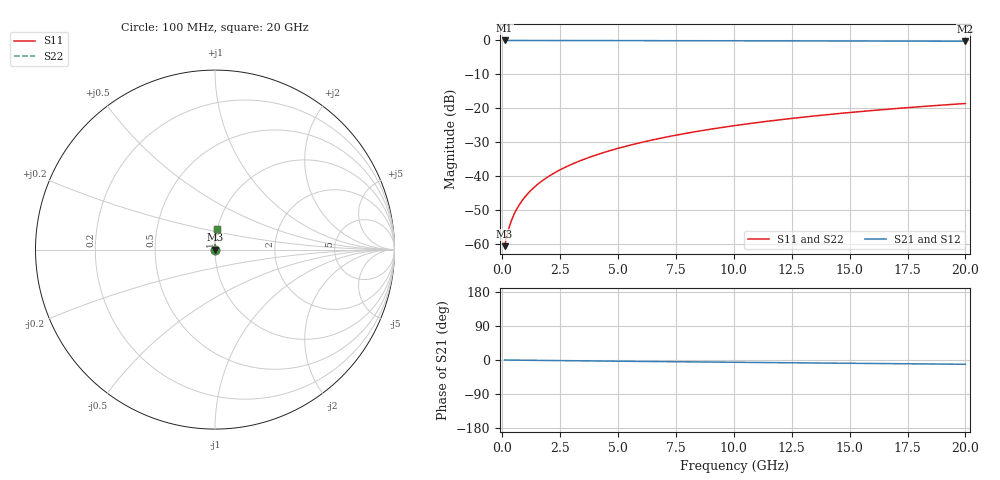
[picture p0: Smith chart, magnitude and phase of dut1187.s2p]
! Touchstone file exported from HFSS 2024.1.0
!  File:  C:/UserFiles/LocalFiles/RDL_TSV_Batchsim/temp_RDL_top_1187_1780049460.aedt
!  Generated:  06:13:03 PM May 29, 2026
!  Design:  RDL_top
!  Project:  temp_RDL_top_1187_1780049460
!  Setup:  Setup1
!  Solution:  Sweep
! Variables:
!  dtsv = 10.80580581um
!  hbump = 3um
!  htsv = 60.05um
!  ldown = 100um
!  lrdl = 144.45um
!  p = 40
!  p1 = 45.19um
!  rhole = 1um
!  t = 450um
!  tdown = 3.915915916um
!  trdl = 3.96um
!  wdown = 15.38538539um
!  wrdl = 23.72um
# GHz S MA R 50.000000
! Terminal data exported
! Port[1] = Box2_T1
! Port[2] = Box2_T2
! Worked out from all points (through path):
!   200 points, 100 MHz to 20 GHz, reference 50 ohm
!   highest |S21| = -0.01 dB at 100 MHz (marker M1); lowest = -0.2 dB at 20 GHz (marker M2)
!   group delay of S21, straight-line fit = 1.55 ps
!   lowest |S11| = -60.6 dB at 100 MHz (marker M3), VSWR 1.00, Z = 50.1 + j0.0552 ohm
!   |S11| at or under -10 dB: start of sweep to end of sweep
!   |S22| runs from -60.6 to -18.6 dB; largest |S21 - S12| = 5e-15
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0.1  0.0009323 36.3  0.9992 -0.1  0.9992 -0.1  0.0009323 36.3
! Gamma 0 0 0 0
! Port Impedance 50 0 50 0
0.2  0.001337 54.0  0.9992 -0.1  0.9992 -0.1  0.001338 54.0
0.3  0.001788 62.6  0.9991 -0.2  0.9991 -0.2  0.001788 62.6
0.4  0.002246 67.8  0.9991 -0.3  0.9991 -0.3  0.002246 67.8
0.5  0.002707 71.4  0.9991 -0.3  0.9991 -0.3  0.002706 71.4
0.6  0.00317 74.0  0.999 -0.4  0.999 -0.4  0.003169 74.0
0.8  0.004105 77.8  0.9989 -0.5  0.9989 -0.5  0.004105 77.8
1.1  0.005532 81.3  0.9988 -0.7  0.9988 -0.7  0.005532 81.3
1.3  0.006496 82.9  0.9987 -0.9  0.9987 -0.9  0.006496 82.9
1.6  0.007959 84.6  0.9985 -1.0  0.9985 -1.0  0.007959 84.6
2.1  0.01043 86.6  0.9981 -1.4  0.9981 -1.4  0.01043 86.6
2.7  0.01347 88.2  0.9976 -1.8  0.9976 -1.8  0.01347 88.2
3.5  0.01762 89.6  0.9966 -2.3  0.9966 -2.3  0.01762 89.6
4.2  0.02136 90.4  0.9957 -2.7  0.9957 -2.7  0.02136 90.4
5  0.02575 91.0  0.9946 -3.2  0.9946 -3.2  0.02575 91.0
5.9  0.03084 91.3  0.9933 -3.7  0.9933 -3.7  0.03084 91.3
6.8  0.03606 91.4  0.9919 -4.2  0.9919 -4.2  0.03606 91.4
8.4  0.04563 91.2  0.9895 -5.1  0.9895 -5.1  0.04563 91.2
10.1  0.05606 90.5  0.987 -6.1  0.987 -6.1  0.05606 90.5
13.4  0.07667 88.6  0.9826 -7.8  0.9826 -7.8  0.07668 88.6
16.7  0.09736 86.4  0.9785 -9.6  0.9785 -9.6  0.09736 86.4
20  0.1179 84.1  0.9746 -11.3  0.9746 -11.3  0.1179 84.1
